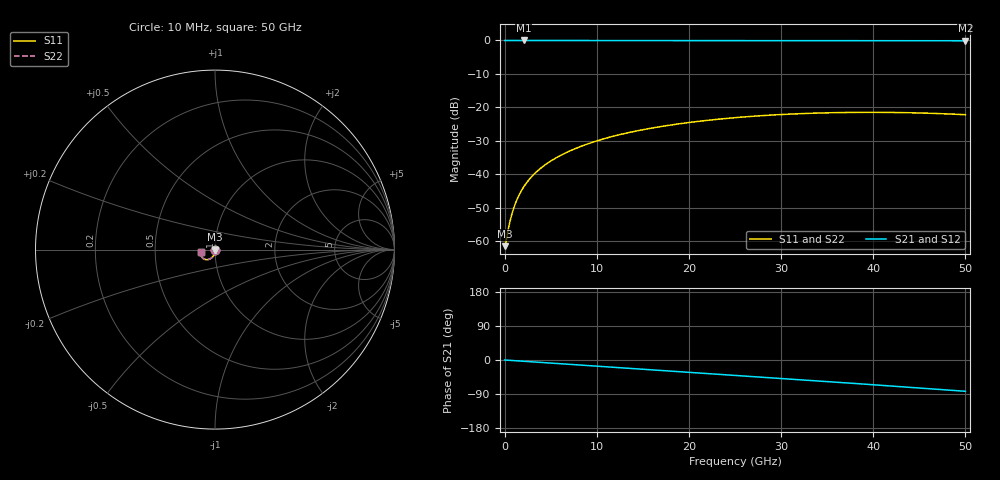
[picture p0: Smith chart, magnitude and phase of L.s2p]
! AWR Design Environment (6079) Mon Jan 19 09:55:49 2015
! Simulator:
! Ports: 2, Freqs: 1001
# GHz S RI R 50
!Freq  ReS11  ImS11  ReS21  ImS21  ReS12  ImS12  ReS22  ImS22
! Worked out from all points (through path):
!   1001 points, 10 MHz to 50 GHz, reference 50 ohm
!   highest |S21| = 0.00 dB at 2.06 GHz (marker M1); lowest = -0.1 dB at 50 GHz (marker M2)
!   group delay of S21, straight-line fit = 4.57 ps
!   lowest |S11| = -61.5 dB at 10 MHz (marker M3), VSWR 1.00, Z = 50.1 - j0.00248 ohm
!   |S11| at or under -10 dB: start of sweep to end of sweep
!   |S22| runs from -61.5 to -21.5 dB; largest |S21 - S12| = 0
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0.01  0.000837 -2.48e-05  0.9991 -0.00029  0.9991 -0.00029  0.000837 -2.48e-05
0.21  0.000872 -0.00059  0.999 -0.00595  0.999 -0.00595  0.000872 -0.00059
0.66  0.000991 -0.0019  0.9988 -0.0187  0.9988 -0.0187  0.000991 -0.0019
1.01  0.00105 -0.00296  0.9988 -0.0285  0.9988 -0.0285  0.00105 -0.00296
1.26  0.00108 -0.00374  0.9987 -0.0355  0.9987 -0.0355  0.00108 -0.00374
1.51  0.00109 -0.00453  0.9985 -0.0426  0.9985 -0.0426  0.00109 -0.00453
2.06  0.00105 -0.0063  0.9978 -0.0581  0.9978 -0.0581  0.00105 -0.0063
2.56  0.000935 -0.00791  0.9968 -0.0723  0.9968 -0.0723  0.000935 -0.00791
3.11  0.000743 -0.00967  0.9954 -0.0878  0.9954 -0.0878  0.000743 -0.00967
4.46  1.64e-05 -0.014  0.9907 -0.1256  0.9907 -0.1256  1.64e-05 -0.014
6.21  -0.0014 -0.0194  0.9823 -0.1743  0.9823 -0.1743  -0.0014 -0.0194
8.36  -0.00385 -0.026  0.9693 -0.2334  0.9693 -0.2334  -0.00385 -0.026
10.11  -0.00639 -0.0311  0.9564 -0.2808  0.9564 -0.2808  -0.00639 -0.0311
12.06  -0.00975 -0.0364  0.9391 -0.3324  0.9391 -0.3324  -0.00975 -0.0364
16.71  -0.0198 -0.0469  0.886 -0.4506  0.886 -0.4506  -0.0198 -0.0469
20.66  -0.03 -0.0528  0.8295 -0.5459  0.8295 -0.5459  -0.03 -0.0528
25.01  -0.0421 -0.0559  0.7554 -0.6441  0.7554 -0.6441  -0.0421 -0.0559
29.11  -0.0531 -0.0554  0.6749 -0.7275  0.6749 -0.7275  -0.0531 -0.0554
33.36  -0.0631 -0.0515  0.5808 -0.8032  0.5808 -0.8032  -0.0631 -0.0515
41.71  -0.0758 -0.0359  0.3657 -0.9191  0.3657 -0.9191  -0.0758 -0.0359
45.96  -0.0775 -0.0255  0.2449 -0.958  0.2449 -0.958  -0.0775 -0.0255
50  -0.0759 -0.0153  0.128 -0.9802  0.128 -0.9802  -0.0759 -0.0153
